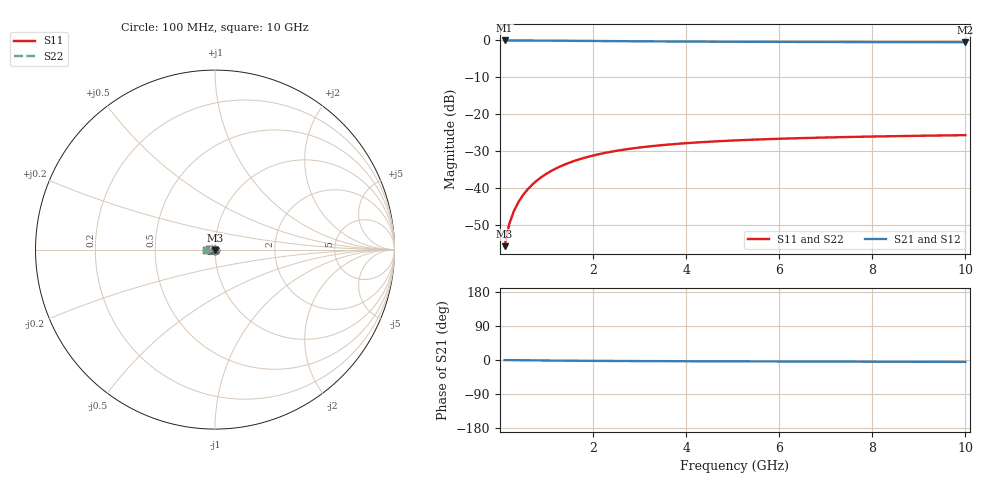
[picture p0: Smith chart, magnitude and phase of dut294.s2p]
! Touchstone file exported from HFSS 2024.1.0
!  File:  C:/UserFiles/LocalFiles/RDL_TSV_Batchsim/temp_TSV1_294_1779394633.aedt
!  Generated:  04:22:22 AM May 22, 2026
!  Design:  TSV1
!  Project:  temp_TSV1_294_1779394633
!  Setup:  Setup1
!  Solution:  Sweep
! Variables:
!  dtsv = 14.13um
!  hbump = 3um
!  htsv = 76.53um
!  lrdl = 252.1521522um
!  p = 40
!  p1 = 58.79um
!  t = 500um
!  trdl = 3um
!  wrdl = 24.89489489um
# GHz S MA R 50.000000
! Terminal data exported
! Port[1] = TSV22_T1
! Port[2] = TSV22_T2
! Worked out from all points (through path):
!   100 points, 100 MHz to 10 GHz, reference 50 ohm
!   highest |S21| = 0.00 dB at 100 MHz (marker M1); lowest = -0.5 dB at 10 GHz (marker M2)
!   lowest |S11| = -55.7 dB at 100 MHz (marker M3), VSWR 1.00, Z = 50 - j0.164 ohm
!   |S11| at or under -10 dB: start of sweep to end of sweep
!   |S22| runs from -55.7 to -25.6 dB; largest |S21 - S12| = 4.8e-15
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0.1  0.001644 -89.2  0.9999 -0.1  0.9999 -0.1  0.001644 -89.2
! Gamma 0 0 0 0
! Port Impedance 50 0 50 0
0.2  0.003285 -92.5  0.9997 -0.3  0.9997 -0.3  0.003285 -92.5
0.3  0.004922 -94.8  0.9994 -0.4  0.9994 -0.4  0.004922 -94.8
0.4  0.006547 -97.1  0.999 -0.6  0.999 -0.6  0.006547 -97.1
0.5  0.008153 -99.2  0.9984 -0.7  0.9984 -0.7  0.008153 -99.2
0.6  0.009735 -101.2  0.9978 -0.8  0.9978 -0.8  0.009735 -101.2
0.7  0.01129 -103.2  0.9971 -1.0  0.9971 -1.0  0.01129 -103.2
0.8  0.0128 -105.2  0.9964 -1.1  0.9964 -1.1  0.0128 -105.2
0.9  0.01428 -107.1  0.9955 -1.2  0.9955 -1.2  0.01428 -107.1
1.1  0.01712 -110.8  0.9937 -1.5  0.9937 -1.5  0.01712 -110.8
1.4  0.02105 -116.1  0.9906 -1.8  0.9906 -1.8  0.02105 -116.1
1.6  0.02344 -119.4  0.9884 -2.0  0.9884 -2.0  0.02344 -119.4
1.8  0.02564 -122.5  0.9862 -2.1  0.9862 -2.1  0.02564 -122.5
2.1  0.02863 -126.8  0.9828 -2.3  0.9828 -2.3  0.02863 -126.8
2.5  0.03204 -132.0  0.9786 -2.6  0.9786 -2.6  0.03204 -132.0
2.9  0.03491 -136.6  0.9747 -2.8  0.9747 -2.8  0.03491 -136.6
3.4  0.03787 -141.7  0.9704 -3.0  0.9704 -3.0  0.03787 -141.7
4.2  0.0415 -148.5  0.9646 -3.3  0.9646 -3.3  0.0415 -148.5
5.1  0.04448 -154.8  0.9597 -3.6  0.9597 -3.6  0.04448 -154.8
6.7  0.04807 -163.6  0.9536 -4.1  0.9536 -4.1  0.04807 -163.6
8.4  0.05057 -170.9  0.9494 -4.6  0.9494 -4.6  0.05057 -170.9
10  0.05228 -176.6  0.9467 -5.1  0.9467 -5.1  0.05228 -176.6
